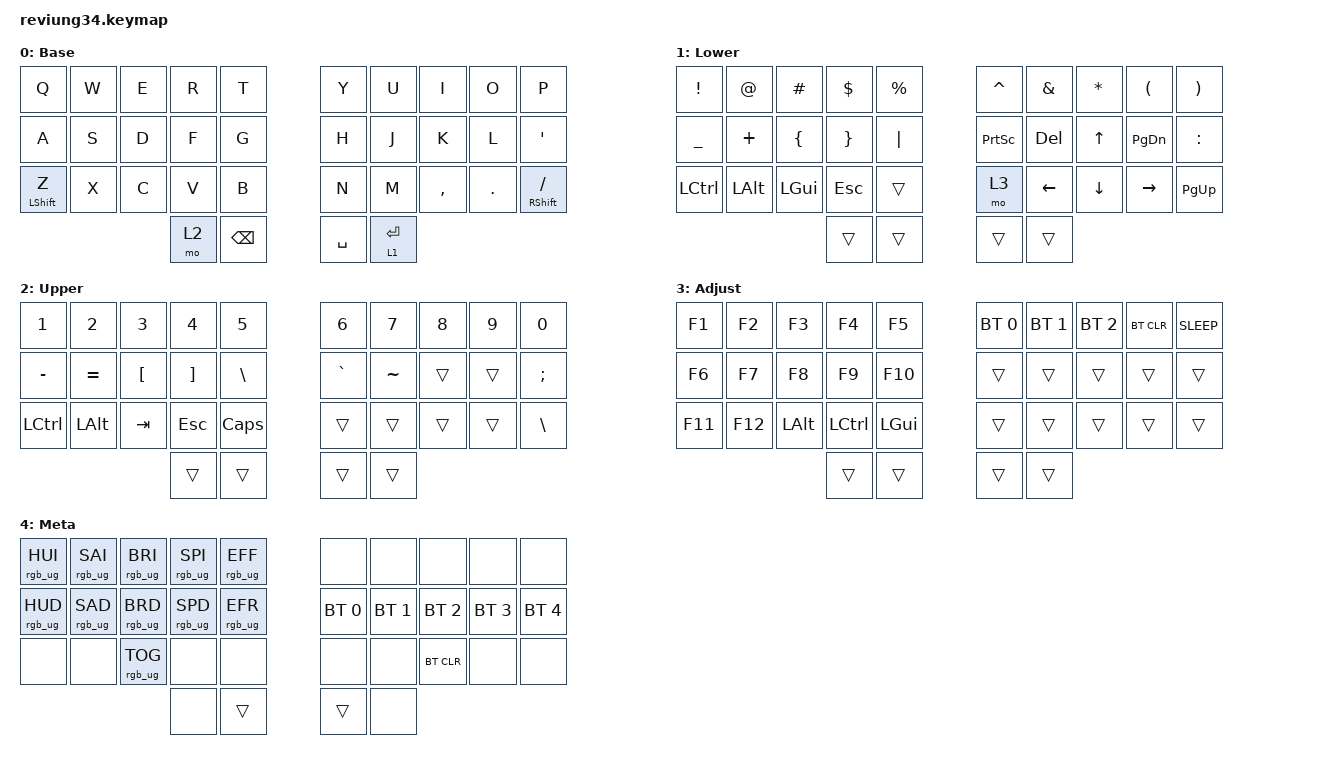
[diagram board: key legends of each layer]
/*
 * Copyright (c) 2023 The ZMK Contributors
 *
 * SPDX-License-Identifier: MIT
 */

#include <behaviors.dtsi>
#include <dt-bindings/zmk/bt.h>
#include <dt-bindings/zmk/keys.h>
#include <dt-bindings/zmk/rgb.h>

#define Base 0
#define Upper   1
#define Lower   2
#define Adjust  3

/ {
    chosen {
        // 34 keys.
        zmk,matrix-transform = &dual_1u_transform;

        // 33 keys. Center two thumb keys replaced by a single 2u key. Remember to adjust your
        // keymap accordingly!
        // zmk,matrix-transform = &single_2u_transform;
    };
};

/ {
    keymap {
        compatible = "zmk,keymap";

        base {
            display-name = "Base";
            bindings = <
&kp Q       &kp W &kp E &kp R    &kp T      &kp Y     &kp U &kp I     &kp O    &kp P
&kp A       &kp S &kp D &kp F    &kp G      &kp H     &kp J &kp K     &kp L   &kp APOS
&mt LSHFT Z &kp X &kp C &kp V    &kp B      &kp N     &kp M &kp COMMA &kp DOT &mt RSHFT SLASH
                  &mo 2 &kp BSPC &kp SPACE  &lt 1 RET 
            >;
        };

        lower {
            display-name = "Lower";
            bindings = <
&kp EXCL &kp AT &kp HASH &kp DLLR &kp PRCNT    &kp CARET &kp AMPS  &kp STAR &kp LPAR &kp RPAR   
&kp UNDER &kp PLUS &kp LBRC &kp RBRC &kp PIPE  &kp PSCRN &kp DEL &kp UP &kp PG_DN &kp COLON 
&kp LCTRL &kp LALT &kp LGUI &kp ESC &trans     &mo 3 &kp LEFT  &kp DOWN  &kp RIGHT  &kp PG_UP
                      &trans  &trans &trans    &trans
            >;
        };

        upper {
            display-name = "Upper";
            bindings = <
&kp N1    &kp N2    &kp N3   &kp N4   &kp N5        &kp N6    &kp N7    &kp N8 &kp N9   &kp N0
&kp MINUS &kp EQUAL &kp LBKT &kp RBKT &kp BSLH      &kp GRAVE &kp TILDE &trans &trans   &kp SEMI
&kp LCTRL &kp LALT  &kp TAB  &kp ESC  &kp CAPS      &trans    &trans    &trans &trans   &kp BSLH
                             &trans   &trans        &trans    &trans
            >;
        };

        function {
            display-name = "Adjust";
            bindings = <
&kp F1 &kp F2 &kp F3 &kp F4 &kp F5            &bt BT_SEL 0  &bt BT_SEL 1 &bt BT_SEL 2 &bt BT_CLR &kp K_SLEEP
&kp F6 &kp F7 &kp F8 &kp F9 &kp F10           &trans &trans &trans &trans &trans 
&kp F11 &kp F12 &kp LALT &kp LCTRL &kp LGUI    &trans &trans &trans &trans &trans 
                        &trans &trans &trans          &trans 
            >;
        };

        meta {
            display-name = "Meta";
            bindings = <
&rgb_ug RGB_HUI &rgb_ug RGB_SAI &rgb_ug RGB_BRI &rgb_ug RGB_SPI &rgb_ug RGB_EFF &none        &none        &none        &none        &none
&rgb_ug RGB_HUD &rgb_ug RGB_SAD &rgb_ug RGB_BRD &rgb_ug RGB_SPD &rgb_ug RGB_EFR &bt BT_SEL 0 &bt BT_SEL 1 &bt BT_SEL 2 &bt BT_SEL 3 &bt BT_SEL 4
&none           &none           &rgb_ug RGB_TOG &none           &none           &none        &none        &bt BT_CLR   &none        &none
                                &none           &trans          &trans          &none
            >;
        };
    };
};
